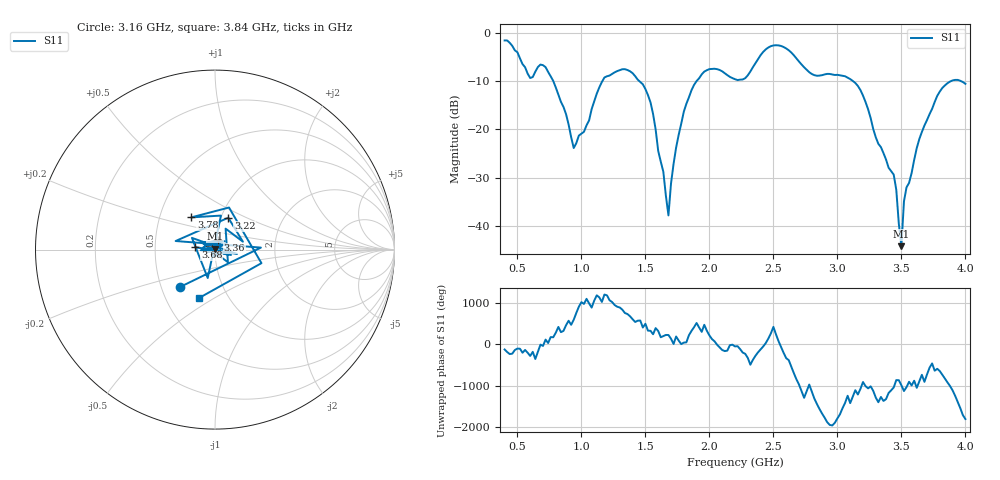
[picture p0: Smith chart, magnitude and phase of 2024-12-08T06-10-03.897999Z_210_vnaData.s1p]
!Created with skrf (http://scikit-rf.org).
# Hz S RI R 50.0
!freq ReS11 ImS11
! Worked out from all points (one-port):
!   181 points, 400 MHz to 4 GHz, reference 50 ohm
!   lowest |S11| = -44.3 dB at 3.5 GHz (marker M1), VSWR 1.01, Z = 50 + j0.612 ohm
!   |S11| at or under -10 dB: 780.9 MHz to 1.163 GHz (382.2 MHz wide, 39.3 % of centre); 1.454 GHz to 1.899 GHz (444.9 MHz wide, 26.5 % of centre); 3.123 GHz to 3.885 GHz (761.9 MHz wide, 21.7 % of centre) (the widest 3 of 4)
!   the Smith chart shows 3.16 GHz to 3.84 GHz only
!   S11 on the Smith chart (normalised r, x): 3.16 GHz: 0.63, -0.28; 3.22 GHz: 1.08, +0.40; 3.36 GHz: 1.03, +0.11; 3.68 GHz: 0.80, +0.02; 3.78 GHz: 0.72, +0.27; 3.84 GHz: 0.73, -0.43
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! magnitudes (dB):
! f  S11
! 400 MHz  -1.5
! 600 MHz  -9.3
! 720 MHz  -7.1
! 860 MHz  -15.3
! 940 MHz  -23.9
! 1.18 GHz  -9.2
! 1.3 GHz  -7.7
! 1.54 GHz  -14.4
! 1.68 GHz  -37.9
! 1.7 GHz  -31.3
! 1.76 GHz  -21.1
! 1.86 GHz  -11.9
! 1.96 GHz  -8.0
! 2.2 GHz  -9.6
! 2.48 GHz  -2.7
! 2.66 GHz  -4.6
! 3.1 GHz  -9.5
! 3.16 GHz  -11.0
! 3.22 GHz  -14.3
! 3.36 GHz  -24.9
! 3.44 GHz  -29.4
! 3.5 GHz  -44.3
! 3.52 GHz  -35.0
! 3.56 GHz  -31.1
! 3.68 GHz  -19.2
! 3.78 GHz  -13.0
! 3.84 GHz  -10.9
! 4 GHz  -10.5
